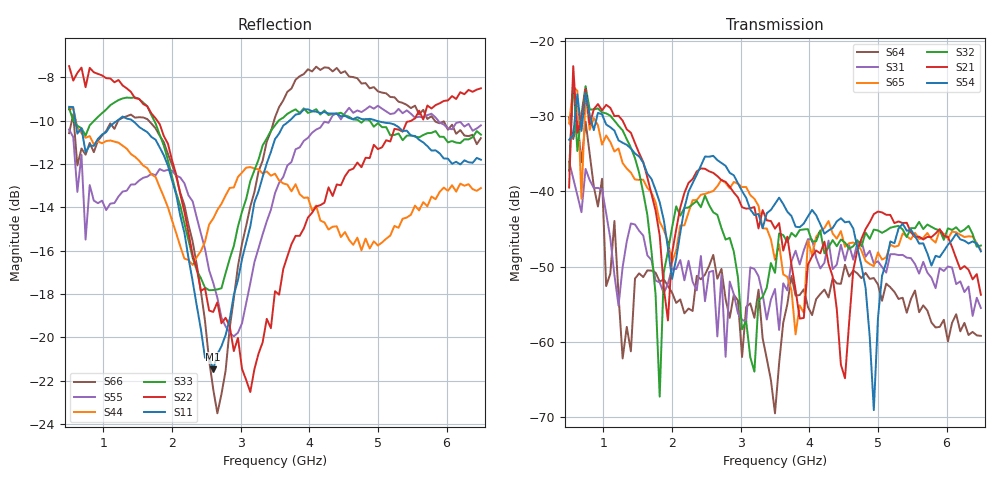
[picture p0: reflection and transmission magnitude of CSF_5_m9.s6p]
!Keysight Technologies,M9804A,MY58100912,A.14.10.03
!Date: Thursday, April 27, 2023 10:28:33
!Correction: S11(C  6-Port  )
!S12(C  6-Port  )
!S13(C  6-Port  )
!S14(C  6-Port  )
!S15(C  6-Port  )
!S16(C  6-Port  )
!S21(C  6-Port  )
!S22(C  6-Port  )
!S23(C  6-Port  )
!S24(C  6-Port  )
!S25(C  6-Port  )
!S26(C  6-Port  )
!S31(C  6-Port  )
!S32(C  6-Port  )
!S33(C  6-Port  )
!S34(C  6-Port  )
!S35(C  6-Port  )
!S36(C  6-Port  )
!S41(C  6-Port  )
!S42(C  6-Port  )
!S43(C  6-Port  )
!S44(C  6-Port  )
!S45(C  6-Port  )
!S46(C  6-Port  )
!S51(C  6-Port  )
!S52(C  6-Port  )
!S53(C  6-Port  )
!S54(C  6-Port  )
!S55(C  6-Port  )
!S56(C  6-Port  )
!S61(C  6-Port  )
!S62(C  6-Port  )
!S63(C  6-Port  )
!S64(C  6-Port  )
!S65(C  6-Port  )
!S66(C  6-Port  )
!S6P File: Measurement: :
# Hz S  RI  R 50
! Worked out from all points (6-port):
!   101 points, 500 MHz to 6.5 GHz, reference 50 ohm
!   strongest paths, dB at 500 MHz, 2 GHz, 3.5 GHz, 5 GHz, 6.5 GHz:
!     S54: -33.1, -51.7, -41.6, -56.9, -48.0
!     S21: -39.5, -48.2, -45.0, -42.7, -53.8
!     S32: -37.2, -44.8, -50.8, -45.2, -47.2
!     S65: -30.9, -49.4, -49.1, -48.1, -47.8
!     S31: -36.1, -50.3, -53.0, -49.3, -55.5
!     S64: -30.1, -53.5, -69.6, -52.4, -59.2
!   lowest |S11| = -21.5 dB at 2.6 GHz (marker M1), VSWR 1.18, Z = 42.5 + j2.17 ohm
!   |S11| at or under -10 dB: 590.5 MHz to 1.203 GHz (612.3 MHz wide, 68.3 % of centre); 1.421 GHz to 3.713 GHz (2.292 GHz wide, 89.3 % of centre); 4.971 GHz to end of sweep
